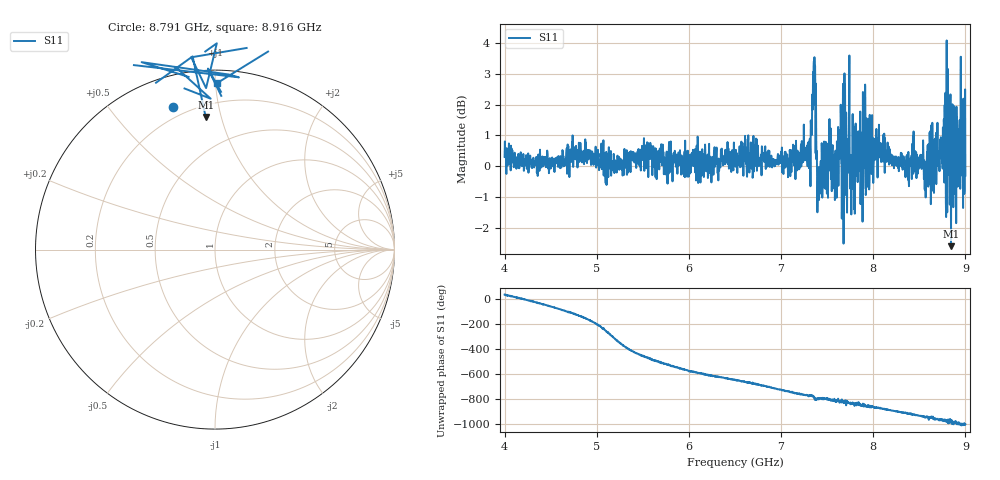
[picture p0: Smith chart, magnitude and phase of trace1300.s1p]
! Created with skrf 1.8.0 (http://scikit-rf.org).
# Hz S RI R 50.0
!freq ReS11 ImS11
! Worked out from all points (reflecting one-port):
!   1601 points, 4 GHz to 9 GHz, reference 50 ohm
!   lowest |S11| = -2.6 dB at 8.844 GHz (marker M1), VSWR 6.72, Z = 13.6 + j44.7 ohm
!   phase of S11 starts at 40 deg and turns -1045 deg over the sweep
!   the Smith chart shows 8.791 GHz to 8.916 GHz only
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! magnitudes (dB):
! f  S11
! 4 GHz  0.3
! 4.625 GHz  0.2
! 5.25 GHz  0.3
! 5.572 GHz  0.2
! 5.875 GHz  -0.2
! 6.5 GHz  0.5
! 7.125 GHz  0.4
! 7.294 GHz  0.3
! 7.353 GHz  3.2
! 7.366 GHz  2.9
! 7.4 GHz  -0.4
! 7.412 GHz  -1.1
! 7.512 GHz  0.6
! 7.588 GHz  0.2
! 7.65 GHz  1.5
! 7.719 GHz  0.5
! 7.75 GHz  -0.7
! 7.775 GHz  1.7
! 7.834 GHz  0.7
! 7.872 GHz  0.5
! 7.962 GHz  1.7
! 8.375 GHz  -0.3
! 8.441 GHz  0.1
! 8.581 GHz  0.2
! 8.788 GHz  -1.2
! 8.844 GHz  -2.6
! 8.959 GHz  1.8
! 9 GHz  -0.3
